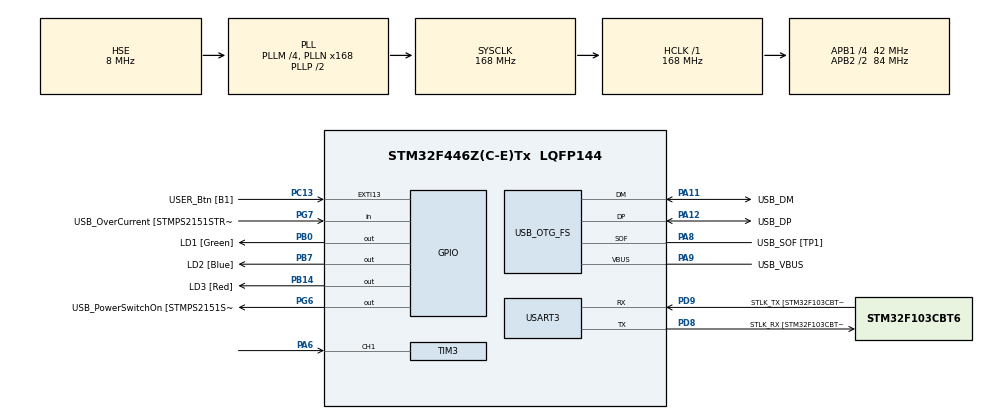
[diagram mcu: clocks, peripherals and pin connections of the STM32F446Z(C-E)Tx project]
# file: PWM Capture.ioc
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Mcu.Family=STM32F4
Mcu.Name=STM32F446Z(C-E)Tx
Mcu.Package=LQFP144
NVIC.PriorityGroup=NVIC_PRIORITYGROUP_4
NVIC.TIM1_UP_TIM10_IRQn=true\:15\:0\:false\:false\:true\:false\:true\:true
NVIC.TIM3_IRQn=true\:0\:0\:false\:false\:true\:true\:true\:true
NVIC.TimeBase=TIM1_UP_TIM10_IRQn
NVIC.TimeBaseIP=TIM1
PA10.GPIO_Label=USB_ID
PA10.Signal=USB_OTG_FS_ID
PA11.GPIO_Label=USB_DM
PA11.Mode=Device_Only
PA11.Signal=USB_OTG_FS_DM
PA12.GPIO_Label=USB_DP
PA12.Mode=Device_Only
PA12.Signal=USB_OTG_FS_DP
PA13.GPIO_Label=TMS
PA13.Mode=Serial_Wire
PA13.Signal=SYS_JTMS-SWDIO
PA14.GPIO_Label=TCK
PA14.Mode=Serial_Wire
PA14.Signal=SYS_JTCK-SWCLK
PA5.Signal=S_TIM2_CH1_ETR
PA6.Signal=S_TIM3_CH1
PA8.GPIO_Label=USB_SOF [TP1]
PA8.Mode=Activate_SOF_FS
PA8.Signal=USB_OTG_FS_SOF
PA9.GPIO_Label=USB_VBUS
PA9.Mode=Activate_VBUS
PA9.Signal=USB_OTG_FS_VBUS
PB0.GPIO_Label=LD1 [Green]
PB0.Signal=GPIO_Output
PB14.GPIO_Label=LD3 [Red]
PB14.Signal=GPIO_Output
PB7.GPIO_Label=LD2 [Blue]
PB7.Signal=GPIO_Output
PC13.GPIO_Label=USER_Btn [B1]
PC13.Signal=GPXTI13
PC14-OSC32_IN.Mode=LSE-External-Oscillator
PC14-OSC32_IN.Signal=RCC_OSC32_IN
PC15-OSC32_OUT.Mode=LSE-External-Oscillator
PC15-OSC32_OUT.Signal=RCC_OSC32_OUT
PD8.GPIO_Label=STLK_RX [STM32F103CBT6_PA3]
PD8.Mode=Asynchronous
PD8.Signal=USART3_TX
PD9.GPIO_Label=STLK_TX [STM32F103CBT6_PA2]
PD9.Mode=Asynchronous
PD9.Signal=USART3_RX
PG6.GPIO_Label=USB_PowerSwitchOn [STMPS2151STR_EN]
PG6.Signal=GPIO_Output
PG7.GPIO_Label=USB_OverCurrent [STMPS2151STR_FAULT]
PG7.Signal=GPIO_Input
PH0-OSC_IN.GPIO_Label=MCO [STM32F103CBT6_PA8]
PH0-OSC_IN.Mode=HSE-External-Clock-Source
PH0-OSC_IN.Signal=RCC_OSC_IN
PH1-OSC_OUT.Mode=HSE-External-Clock-Source
PH1-OSC_OUT.Signal=RCC_OSC_OUT
ProjectManager.HeapSize=0x200
ProjectManager.StackSize=0x400
ProjectManager.TargetToolchain=MDK-ARM V5.32
RCC.48MHZClocksFreq_Value=24000000
RCC.AHBFreq_Value=168000000
RCC.APB1CLKDivider=RCC_HCLK_DIV4
RCC.APB1Freq_Value=42000000
RCC.APB1TimFreq_Value=84000000
RCC.APB2CLKDivider=RCC_HCLK_DIV2
RCC.APB2Freq_Value=84000000
RCC.APB2TimFreq_Value=168000000
RCC.CortexFreq_Value=168000000
RCC.HCLKFreq_Value=168000000
RCC.HSE_VALUE=8000000
RCC.HSI_VALUE=16000000
RCC.PLLM=4
RCC.PLLMUL=RCC_PLL_MUL9
RCC.PLLN=168
RCC.PLLQ=7
RCC.PRESCALERUSB=RCC_USBCLKSOURCE_PLL_DIV1_5
RCC.SYSCLKFreq_VALUE=168000000
RCC.SYSCLKSource=RCC_SYSCLKSOURCE_PLLCLK
RCC.SYSCLKSourceVirtual=RCC_SYSCLKSOURCE_PLLCLK
RCC.USBFreq_Value=48000000
RCC.VCOOutputFreq_Value=336000000
SH.S_TIM2_CH1_ETR.0=TIM2_CH1
SH.S_TIM3_CH1.0=TIM3_CH1,Input_Capture1_from_TI1
TIM3.Channel-Input_Capture1_from_TI1=TIM_CHANNEL_1
TIM3.ICPolarity_CH1=TIM_INPUTCHANNELPOLARITY_BOTHEDGE
TIM3.Prescaler=84-1
USART3.VirtualMode=VM_ASYNC
USB_OTG_FS.VirtualMode=Device_Only
VP_SYS_VS_tim1.Mode=TIM1
VP_TIM3_VS_ClockSourceINT.Mode=Internal
board=NUCLEO-F446ZE

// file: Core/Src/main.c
/* USER CODE BEGIN Header */
/**
  ******************************************************************************
  * @file           : main.c
  * @brief          : Main program body
  ******************************************************************************
  * @attention
  *
  * Copyright (c) 2022 STMicroelectronics.
  * All rights reserved.
  *
  * This software is licensed under terms that can be found in the LICENSE file
  * in the root directory of this software component.
  * If no LICENSE file comes with this software, it is provided AS-IS.
  *
  ******************************************************************************
  */
/* USER CODE END Header */
#include "main.h"

/* USER CODE BEGIN Includes */
#include "stdio.h"
/* USER CODE END Includes */

TIM_HandleTypeDef htim3;

UART_HandleTypeDef huart3;

PCD_HandleTypeDef hpcd_USB_OTG_FS;

void SystemClock_Config(void);
static void MX_GPIO_Init(void);
static void MX_USART3_UART_Init(void);
static void MX_USB_OTG_FS_PCD_Init(void);
static void MX_TIM3_Init(void);

/* USER CODE BEGIN 0 */

#ifdef __GNUC__
/* With GCC, small printf (option LD Linker->Libraries->Small printf
   set to 'Yes') calls __io_putchar() */
#define PUTCHAR_PROTOTYPE int __io_putchar(int ch)
#else
#define PUTCHAR_PROTOTYPE int fputc(int ch, FILE *f)
#endif /* __GNUC__ */

/**
  * @brief  Retargets the C library printf function to the USART.
  * @param  None
  * @retval None
  */
PUTCHAR_PROTOTYPE
{
  /* Place your implementation of fputc here */
  /* e.g. write a character to the USART3 and Loop until the end of transmission */
  HAL_UART_Transmit(&huart3, (uint8_t *)&ch, 1, 0xFFFF);

  return ch;
}

#define TIMCLOCK   84000000
#define PRESCALAR  84

uint32_t IC_Val1 = 0;
uint32_t IC_Val2 = 0;
uint32_t Difference = 0;
int Is_First_Captured = 0;

uint32_t usWidth = 0;

void HAL_TIM_IC_CaptureCallback(TIM_HandleTypeDef *htim)
{
	if (htim->Channel == HAL_TIM_ACTIVE_CHANNEL_1)  // if the interrupt source is channel1
	{
		if (Is_First_Captured==0) // if the first value is not captured
		{
			IC_Val1 = HAL_TIM_ReadCapturedValue(htim, TIM_CHANNEL_1); // read the first value
			Is_First_Captured = 1;  // set the first captured as true
		}

		else   // if the first is already captured
		{
			IC_Val2 = HAL_TIM_ReadCapturedValue(htim, TIM_CHANNEL_1);  // read second value

			if (IC_Val2 > IC_Val1)
			{
				Difference = IC_Val2-IC_Val1;
			}

			else if (IC_Val1 > IC_Val2)
			{
				Difference = (0xffffffff - IC_Val1) + IC_Val2;
			}

			float refClock = TIMCLOCK/(PRESCALAR);
			float mFactor = 1000000/refClock;

			usWidth = Difference*mFactor;

			printf("%d\r\n", usWidth);

			__HAL_TIM_SET_COUNTER(htim, 0);  // reset the counter
			Is_First_Captured = 0; // set it back to false
		}
	}
}

/* USER CODE END 0 */

int main(void)
{

  /* MCU Configuration--------------------------------------------------------*/

  /* Reset of all peripherals, Initializes the Flash interface and the Systick. */
  HAL_Init();

  /* Configure the system clock */
  SystemClock_Config();

  /* Initialize all configured peripherals */
  MX_GPIO_Init();
  MX_USART3_UART_Init();
  MX_USB_OTG_FS_PCD_Init();
  MX_TIM3_Init();
  /* USER CODE BEGIN 2 */

	HAL_TIM_IC_Start_IT(&htim3, TIM_CHANNEL_1);

  /* USER CODE END 2 */

  /* Infinite loop */
  while (1)
  {

  }
}

void SystemClock_Config(void)
{
  RCC_OscInitTypeDef RCC_OscInitStruct = {0};
  RCC_ClkInitTypeDef RCC_ClkInitStruct = {0};

  /** Configure the main internal regulator output voltage
  */
  __HAL_RCC_PWR_CLK_ENABLE();
  __HAL_PWR_VOLTAGESCALING_CONFIG(PWR_REGULATOR_VOLTAGE_SCALE1);

  /** Initializes the RCC Oscillators according to the specified parameters
  * in the RCC_OscInitTypeDef structure.
  */
  RCC_OscInitStruct.OscillatorType = RCC_OSCILLATORTYPE_HSE;
  RCC_OscInitStruct.HSEState = RCC_HSE_BYPASS;
  RCC_OscInitStruct.PLL.PLLState = RCC_PLL_ON;
  RCC_OscInitStruct.PLL.PLLSource = RCC_PLLSOURCE_HSE;
  RCC_OscInitStruct.PLL.PLLM = 4;
  RCC_OscInitStruct.PLL.PLLN = 168;
  RCC_OscInitStruct.PLL.PLLP = RCC_PLLP_DIV2;
  RCC_OscInitStruct.PLL.PLLQ = 7;
  RCC_OscInitStruct.PLL.PLLR = 2;
  if (HAL_RCC_OscConfig(&RCC_OscInitStruct) != HAL_OK)
  {
    Error_Handler();
  }

  /** Initializes the CPU, AHB and APB buses clocks
  */
  RCC_ClkInitStruct.ClockType = RCC_CLOCKTYPE_HCLK|RCC_CLOCKTYPE_SYSCLK
                              |RCC_CLOCKTYPE_PCLK1|RCC_CLOCKTYPE_PCLK2;
  RCC_ClkInitStruct.SYSCLKSource = RCC_SYSCLKSOURCE_PLLCLK;
  RCC_ClkInitStruct.AHBCLKDivider = RCC_SYSCLK_DIV1;
  RCC_ClkInitStruct.APB1CLKDivider = RCC_HCLK_DIV4;
  RCC_ClkInitStruct.APB2CLKDivider = RCC_HCLK_DIV2;

  if (HAL_RCC_ClockConfig(&RCC_ClkInitStruct, FLASH_LATENCY_5) != HAL_OK)
  {
    Error_Handler();
  }
}

static void MX_TIM3_Init(void)
{

  TIM_ClockConfigTypeDef sClockSourceConfig = {0};
  TIM_MasterConfigTypeDef sMasterConfig = {0};
  TIM_IC_InitTypeDef sConfigIC = {0};

  htim3.Instance = TIM3;
  htim3.Init.Prescaler = 84-1;
  htim3.Init.CounterMode = TIM_COUNTERMODE_UP;
  htim3.Init.Period = 65535;
  htim3.Init.ClockDivision = TIM_CLOCKDIVISION_DIV1;
  htim3.Init.AutoReloadPreload = TIM_AUTORELOAD_PRELOAD_DISABLE;
  if (HAL_TIM_Base_Init(&htim3) != HAL_OK)
  {
    Error_Handler();
  }
  sClockSourceConfig.ClockSource = TIM_CLOCKSOURCE_INTERNAL;
  if (HAL_TIM_ConfigClockSource(&htim3, &sClockSourceConfig) != HAL_OK)
  {
    Error_Handler();
  }
  if (HAL_TIM_IC_Init(&htim3) != HAL_OK)
  {
    Error_Handler();
  }
  sMasterConfig.MasterOutputTrigger = TIM_TRGO_RESET;
  sMasterConfig.MasterSlaveMode = TIM_MASTERSLAVEMODE_DISABLE;
  if (HAL_TIMEx_MasterConfigSynchronization(&htim3, &sMasterConfig) != HAL_OK)
  {
    Error_Handler();
  }
  sConfigIC.ICPolarity = TIM_INPUTCHANNELPOLARITY_BOTHEDGE;
  sConfigIC.ICSelection = TIM_ICSELECTION_DIRECTTI;
  sConfigIC.ICPrescaler = TIM_ICPSC_DIV1;
  sConfigIC.ICFilter = 0;
  if (HAL_TIM_IC_ConfigChannel(&htim3, &sConfigIC, TIM_CHANNEL_1) != HAL_OK)
  {
    Error_Handler();
  }

}

static void MX_USART3_UART_Init(void)
{

  huart3.Instance = USART3;
  huart3.Init.BaudRate = 115200;
  huart3.Init.WordLength = UART_WORDLENGTH_8B;
  huart3.Init.StopBits = UART_STOPBITS_1;
  huart3.Init.Parity = UART_PARITY_NONE;
  huart3.Init.Mode = UART_MODE_TX_RX;
  huart3.Init.HwFlowCtl = UART_HWCONTROL_NONE;
  huart3.Init.OverSampling = UART_OVERSAMPLING_16;
  if (HAL_UART_Init(&huart3) != HAL_OK)
  {
    Error_Handler();
  }

}

static void MX_USB_OTG_FS_PCD_Init(void)
{

  hpcd_USB_OTG_FS.Instance = USB_OTG_FS;
  hpcd_USB_OTG_FS.Init.dev_endpoints = 6;
  hpcd_USB_OTG_FS.Init.speed = PCD_SPEED_FULL;
  hpcd_USB_OTG_FS.Init.dma_enable = DISABLE;
  hpcd_USB_OTG_FS.Init.phy_itface = PCD_PHY_EMBEDDED;
  hpcd_USB_OTG_FS.Init.Sof_enable = ENABLE;
  hpcd_USB_OTG_FS.Init.low_power_enable = DISABLE;
  hpcd_USB_OTG_FS.Init.lpm_enable = DISABLE;
  hpcd_USB_OTG_FS.Init.vbus_sensing_enable = ENABLE;
  hpcd_USB_OTG_FS.Init.use_dedicated_ep1 = DISABLE;
  if (HAL_PCD_Init(&hpcd_USB_OTG_FS) != HAL_OK)
  {
    Error_Handler();
  }

}

static void MX_GPIO_Init(void)
{
  GPIO_InitTypeDef GPIO_InitStruct = {0};

  /* GPIO Ports Clock Enable */
  __HAL_RCC_GPIOC_CLK_ENABLE();
  __HAL_RCC_GPIOH_CLK_ENABLE();
  __HAL_RCC_GPIOA_CLK_ENABLE();
  __HAL_RCC_GPIOB_CLK_ENABLE();
  __HAL_RCC_GPIOD_CLK_ENABLE();
  __HAL_RCC_GPIOG_CLK_ENABLE();

  /*Configure GPIO pin Output Level */
  HAL_GPIO_WritePin(GPIOB, LD1_Pin|LD3_Pin|LD2_Pin, GPIO_PIN_RESET);

  /*Configure GPIO pin Output Level */
  HAL_GPIO_WritePin(USB_PowerSwitchOn_GPIO_Port, USB_PowerSwitchOn_Pin, GPIO_PIN_RESET);

  /*Configure GPIO pin : USER_Btn_Pin */
  GPIO_InitStruct.Pin = USER_Btn_Pin;
  GPIO_InitStruct.Mode = GPIO_MODE_IT_RISING;
  GPIO_InitStruct.Pull = GPIO_NOPULL;
  HAL_GPIO_Init(USER_Btn_GPIO_Port, &GPIO_InitStruct);

  /*Configure GPIO pin : PA5 */
  GPIO_InitStruct.Pin = GPIO_PIN_5;
  GPIO_InitStruct.Mode = GPIO_MODE_AF_PP;
  GPIO_InitStruct.Pull = GPIO_NOPULL;
  GPIO_InitStruct.Speed = GPIO_SPEED_FREQ_LOW;
  GPIO_InitStruct.Alternate = GPIO_AF1_TIM2;
  HAL_GPIO_Init(GPIOA, &GPIO_InitStruct);

  /*Configure GPIO pins : LD1_Pin LD3_Pin LD2_Pin */
  GPIO_InitStruct.Pin = LD1_Pin|LD3_Pin|LD2_Pin;
  GPIO_InitStruct.Mode = GPIO_MODE_OUTPUT_PP;
  GPIO_InitStruct.Pull = GPIO_NOPULL;
  GPIO_InitStruct.Speed = GPIO_SPEED_FREQ_LOW;
  HAL_GPIO_Init(GPIOB, &GPIO_InitStruct);

  /*Configure GPIO pin : USB_PowerSwitchOn_Pin */
  GPIO_InitStruct.Pin = USB_PowerSwitchOn_Pin;
  GPIO_InitStruct.Mode = GPIO_MODE_OUTPUT_PP;
  GPIO_InitStruct.Pull = GPIO_NOPULL;
  GPIO_InitStruct.Speed = GPIO_SPEED_FREQ_LOW;
  HAL_GPIO_Init(USB_PowerSwitchOn_GPIO_Port, &GPIO_InitStruct);

  /*Configure GPIO pin : USB_OverCurrent_Pin */
  GPIO_InitStruct.Pin = USB_OverCurrent_Pin;
  GPIO_InitStruct.Mode = GPIO_MODE_INPUT;
  GPIO_InitStruct.Pull = GPIO_NOPULL;
  HAL_GPIO_Init(USB_OverCurrent_GPIO_Port, &GPIO_InitStruct);

}

void HAL_TIM_PeriodElapsedCallback(TIM_HandleTypeDef *htim)
{
  if (htim->Instance == TIM1) {
    HAL_IncTick();
  }
}

void Error_Handler(void)
{
  __disable_irq();
  while (1)
  {
  }
}
